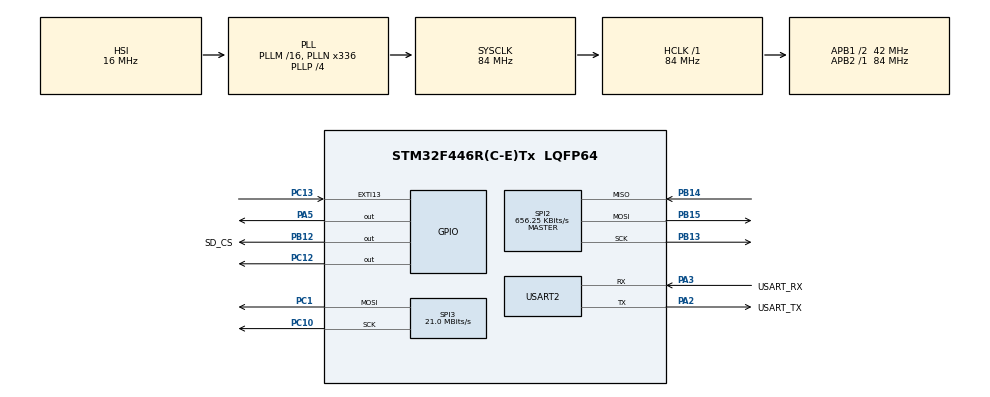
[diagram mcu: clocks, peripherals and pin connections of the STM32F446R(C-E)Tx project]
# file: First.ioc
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Mcu.Family=STM32F4
Mcu.Name=STM32F446R(C-E)Tx
Mcu.Package=LQFP64
NUCLEO-F446RE.BUTTON=1
NUCLEO-F446RE.LD1=true
NVIC.EXTI15_10_IRQn=true\:0\:0\:false\:false\:true\:false\:true\:true
NVIC.PriorityGroup=NVIC_PRIORITYGROUP_0
PA13.GPIO_Label=TMS
PA13.Signal=SYS_JTMS-SWDIO
PA14.GPIO_Label=TCK
PA14.Signal=SYS_JTCK-SWCLK
PA2.GPIO_Label=USART_TX
PA2.Mode=Asynchronous
PA2.Signal=USART2_TX
PA3.GPIO_Label=USART_RX
PA3.Mode=Asynchronous
PA3.Signal=USART2_RX
PA5.Signal=GPIO_Output
PB12.GPIO_Label=SD_CS
PB12.GPIO_PuPd=GPIO_PULLUP
PB12.GPIO_Speed=GPIO_SPEED_FREQ_HIGH
PB12.PinState=GPIO_PIN_SET
PB12.Signal=GPIO_Output
PB13.Mode=Full_Duplex_Master
PB13.Signal=SPI2_SCK
PB14.Mode=Full_Duplex_Master
PB14.Signal=SPI2_MISO
PB15.Mode=Full_Duplex_Master
PB15.Signal=SPI2_MOSI
PB3.GPIO_Label=SWO
PB3.Signal=SYS_JTDO-SWO
PC1.Mode=TX_Only_Simplex_Unidirect_Master
PC1.Signal=SPI3_MOSI
PC10.Mode=TX_Only_Simplex_Unidirect_Master
PC10.Signal=SPI3_SCK
PC12.Signal=GPIO_Output
PC13.Signal=GPXTI13
PC14-OSC32_IN.Signal=RCC_OSC32_IN
PC15-OSC32_OUT.Signal=RCC_OSC32_OUT
PH0-OSC_IN.Signal=RCC_OSC_IN
PH1-OSC_OUT.Signal=RCC_OSC_OUT
ProjectManager.HeapSize=0x200
ProjectManager.StackSize=0x400
ProjectManager.TargetToolchain=STM32CubeIDE
RCC.AHBFreq_Value=84000000
RCC.APB1CLKDivider=RCC_HCLK_DIV2
RCC.APB1Freq_Value=42000000
RCC.APB1TimFreq_Value=84000000
RCC.APB2Freq_Value=84000000
RCC.APB2TimFreq_Value=84000000
RCC.CortexFreq_Value=84000000
RCC.FLatency-AdvancedSettings=FLASH_LATENCY_2
RCC.HCLKFreq_Value=84000000
RCC.HSE_VALUE=8000000
RCC.HSI_VALUE=16000000
RCC.LSE_VALUE=32768
RCC.PLLN=336
RCC.PLLP=RCC_PLLP_DIV4
RCC.SYSCLKFreq_VALUE=84000000
RCC.SYSCLKSource=RCC_SYSCLKSOURCE_PLLCLK
RCC.USBFreq_Value=168000000
RCC.VCOOutputFreq_Value=336000000
SPI2.BaudRatePrescaler=SPI_BAUDRATEPRESCALER_64
SPI2.CalculateBaudRate=656.25 KBits/s
SPI2.Direction=SPI_DIRECTION_2LINES
SPI2.Mode=SPI_MODE_MASTER
SPI2.VirtualType=VM_MASTER
SPI3.CalculateBaudRate=21.0 MBits/s
SPI3.Direction=SPI_DIRECTION_2LINES
SPI3.Mode=SPI_MODE_MASTER
SPI3.VirtualType=VM_MASTER
USART2.VirtualMode=VM_ASYNC
VP_FATFS_VS_Generic.Mode=User_defined
VP_NUCLEO-F446RE_VS_BSP_COMMON.Mode=COMMON
board=NUCLEO-F446RE

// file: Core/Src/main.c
/* USER CODE BEGIN Header */
/**
  ******************************************************************************
  * @file           : main.c
  * @brief          : Main program body
  ******************************************************************************
  * @attention
  *
  * Copyright (c) 2026 STMicroelectronics.
  * All rights reserved.
  *
  * This software is licensed under terms that can be found in the LICENSE file
  * in the root directory of this software component.
  * If no LICENSE file comes with this software, it is provided AS-IS.
  *
  ******************************************************************************
  */
/* USER CODE END Header */
#include "main.h"
#include "fatfs.h"

/* USER CODE BEGIN Includes */
#include <stdio.h>
#include <stdlib.h>
#include <inttypes.h>
#include <string.h>
#include "fatfs.h"
/* USER CODE END Includes */

SPI_HandleTypeDef hspi2;
SPI_HandleTypeDef hspi3;

UART_HandleTypeDef huart2;

/* USER CODE BEGIN PV */
#define WINDOW_PERFECT_MS 50
#define WINDOW_GOOD_MS    120

FIL MyFile;
uint8_t rtext[64];

typedef enum{
	NOTE_UNHIT = 0,
	NOTE_HIT,
	NOTE_MISSED
} NoteStatus_t;

typedef struct{
	uint32_t timestamp_ms;
	uint8_t fret_id;
	NoteStatus_t status;
} Note_t;

static Note_t song_track[] = {
  { 3000,  0, NOTE_UNHIT },
  { 5000,  0, NOTE_UNHIT },
  { 7000,  0, NOTE_UNHIT },
  { 9000,  0, NOTE_UNHIT },
  { 11000, 0, NOTE_UNHIT }
};

#define TRACK_NOTE_COUNT (sizeof(song_track) / sizeof(Note_t))

static uint32_t song_start_time = 0;
static uint8_t is_playing = 0;
static uint32_t current_score =0;
static uint32_t current_combo = 0;
static uint8_t song_finished = 0;

/* USER CODE END PV */

void SystemClock_Config(void);
static void MX_GPIO_Init(void);
static void MX_USART2_UART_Init(void);
static void MX_SPI2_Init(void);
static void MX_SPI3_Init(void);

/* USER CODE BEGIN 0 */
int __io_putchar(int ch){
	HAL_UART_Transmit(&huart2, (uint8_t *)&ch, 1, HAL_MAX_DELAY);
	return ch;
}

void Process_Button_Press(uint32_t press_time_abs){
	if(!is_playing) return;

	uint32_t song_elapsed_ms = press_time_abs - song_start_time;

	for(size_t i = 0; i < TRACK_NOTE_COUNT; i++)
	{
		if(song_track[i].status != NOTE_UNHIT) continue;

		int32_t delta = (int32_t)song_elapsed_ms - (int32_t)song_track[i].timestamp_ms;

		if(delta < -WINDOW_GOOD_MS) break;

		if(abs(delta) <= WINDOW_GOOD_MS){
			song_track[i].status = NOTE_HIT;
			HAL_GPIO_TogglePin(GPIOA, GPIO_PIN_5);

			if(abs(delta) <= WINDOW_PERFECT_MS){
				current_score += 100;
				++current_combo;
				printf("[PERFECT] Target: %u ms | Delta: %+d ms | Score: %u | Combo: %u\r\n",
               (unsigned int)song_track[i].timestamp_ms, (int)delta,
               (unsigned int)current_score, (unsigned int)current_combo);

			}
			else{
				current_score +=50;
				current_combo++;
				printf("[GOOD]    Target: %u ms | Delta: %+d ms | Score: %u | Combo: %u\r\n",
			               (unsigned int)song_track[i].timestamp_ms, (int)delta,
			               (unsigned int)current_score, (unsigned int)current_combo);

			}
			return;

		}
	}
	printf("[EXTRA TAP] at %u ms | Combo reset!\r\n", (unsigned int)song_elapsed_ms);
	current_combo = 0;
}
/* USER CODE END 0 */

int main(void)
{

  /* MCU Configuration--------------------------------------------------------*/

  /* Reset of all peripherals, Initializes the Flash interface and the Systick. */
  HAL_Init();

  /* Configure the system clock */
  SystemClock_Config();

  /* Initialize all configured peripherals */
  MX_GPIO_Init();
  MX_USART2_UART_Init();
  MX_SPI2_Init();
  MX_FATFS_Init();
  MX_SPI3_Init();
  /* USER CODE BEGIN 2 */
  printf("\r\n=== System Boot: Testing MicroSD Write & Read ===\r\n");

    FRESULT res;
    UINT bytesWritten = 0;
    UINT bytesRead = 0;
    const char writeData[] = "RHYTHM_ENGINE_READY_FROM_STM32\r\n";

    // 1. Mount the filesystem
    res = f_mount(&USERFatFS, (TCHAR const*)USERPath, 1);
    if (res != FR_OK)
    {
      printf("[SD ERROR] f_mount failed: %d\r\n", res);
    }
    else
    {
      printf("[SD OK] Card mounted successfully!\r\n");

      // 2. Create and open test.txt for writing (overwrites if it already exists)
      res = f_open(&MyFile, "test.txt", FA_CREATE_ALWAYS | FA_WRITE);
      if (res != FR_OK)
      {
        printf("[SD ERROR] f_open (write) failed: %d\r\n", res);
      }
      else
      {
        printf("[SD OK] 'test.txt' created on SD card!\r\n");

        // 3. Write string data to the file
        res = f_write(&MyFile, writeData, sizeof(writeData) - 1, &bytesWritten);
        if (res != FR_OK)
        {
          printf("[SD ERROR] f_write failed: %d\r\n", res);
        }
        else
        {
          printf("[SD OK] Wrote %u bytes to test.txt\r\n", (unsigned int)bytesWritten);
        }

        // 4. MUST close the file to flush the cache and write FAT directory entries
        f_close(&MyFile);
      }

      // 5. Read back the file to verify data integrity
      res = f_open(&MyFile, "test.txt", FA_READ);
      if (res == FR_OK)
      {
        memset(rtext, 0, sizeof(rtext));
        uint32_t t_start = HAL_GetTick();
        res = f_read(&MyFile, rtext, sizeof(rtext) - 1, &bytesRead);
        uint32_t t_elapsed = HAL_GetTick() - t_start;
        printf("[BENCHMARK] Read time: %lu ms\r\n", t_elapsed);
        if (res == FR_OK)
        {

          printf("[SD OK] Read back %u bytes:\r\n", (unsigned int)bytesRead);
          printf("----------------------------------------\r\n");
          printf("%s", (char *)rtext);
          printf("----------------------------------------\r\n");
        }
        f_close(&MyFile);
      }
    }
  printf("\r\n=== System Boot: Rhythm Engine Initialized ===\r\n");
  printf("Track loaded: %u notes.\r\n", (unsigned int)TRACK_NOTE_COUNT);
  printf("First note coming at 3000 ms! Get ready...\r\n");

  song_start_time = HAL_GetTick();
  is_playing = 1;

  uint16_t TX_Buffer[] = {0b000101100000};

  HAL_SPI_Transmit(&hspi3, (uint8_t *)TX_Buffer, 1, 1000);
  HAL_Delay(100);

  /* USER CODE END 2 */

  /* Initialize leds */
  BSP_LED_Init(LED2);

  /* Initialize USER push-button, will be used to trigger an interrupt each time it's pressed.*/
  BSP_PB_Init(BUTTON_USER, BUTTON_MODE_EXTI);

  /* Infinite loop */
  while (1)
  {

    /* USER CODE BEGIN 3 */

	  if(is_playing){

		  uint32_t elapsed = HAL_GetTick() - song_start_time;

		  for(size_t i = 0; i <TRACK_NOTE_COUNT; i++){

			  if(song_track[i].status == NOTE_UNHIT &&
					  ((int32_t)elapsed - (int32_t)song_track[i].timestamp_ms) > WINDOW_GOOD_MS){
				  song_track[i].status = NOTE_MISSED;
				  current_combo = 0;
				  printf("[MISSED]  Target: %u ms passed unhit! Combo reset.\r\n",
						 (unsigned int)song_track[i].timestamp_ms);
			  }

		  }
		  if(!song_finished && elapsed > song_track[TRACK_NOTE_COUNT - 1].timestamp_ms + 2000){
			  is_playing = 0;
			  song_finished = 1;
			  printf("\r\n=== SONG COMPLETE ===\r\n");
			  printf("Final Score: %u\r\n", (unsigned int)current_score);
			  printf("Press Black Reset Button to replay.\r\n");
		  }

	  }
  }
  /* USER CODE END 3 */
}

void SystemClock_Config(void)
{
  RCC_OscInitTypeDef RCC_OscInitStruct = {0};
  RCC_ClkInitTypeDef RCC_ClkInitStruct = {0};

  /** Configure the main internal regulator output voltage
  */
  __HAL_RCC_PWR_CLK_ENABLE();
  __HAL_PWR_VOLTAGESCALING_CONFIG(PWR_REGULATOR_VOLTAGE_SCALE3);

  /** Initializes the RCC Oscillators according to the specified parameters
  * in the RCC_OscInitTypeDef structure.
  */
  RCC_OscInitStruct.OscillatorType = RCC_OSCILLATORTYPE_HSI;
  RCC_OscInitStruct.HSIState = RCC_HSI_ON;
  RCC_OscInitStruct.HSICalibrationValue = RCC_HSICALIBRATION_DEFAULT;
  RCC_OscInitStruct.PLL.PLLState = RCC_PLL_ON;
  RCC_OscInitStruct.PLL.PLLSource = RCC_PLLSOURCE_HSI;
  RCC_OscInitStruct.PLL.PLLM = 16;
  RCC_OscInitStruct.PLL.PLLN = 336;
  RCC_OscInitStruct.PLL.PLLP = RCC_PLLP_DIV4;
  RCC_OscInitStruct.PLL.PLLQ = 2;
  RCC_OscInitStruct.PLL.PLLR = 2;
  if (HAL_RCC_OscConfig(&RCC_OscInitStruct) != HAL_OK)
  {
    Error_Handler();
  }

  /** Initializes the CPU, AHB and APB buses clocks
  */
  RCC_ClkInitStruct.ClockType = RCC_CLOCKTYPE_HCLK|RCC_CLOCKTYPE_SYSCLK
                              |RCC_CLOCKTYPE_PCLK1|RCC_CLOCKTYPE_PCLK2;
  RCC_ClkInitStruct.SYSCLKSource = RCC_SYSCLKSOURCE_PLLCLK;
  RCC_ClkInitStruct.AHBCLKDivider = RCC_SYSCLK_DIV1;
  RCC_ClkInitStruct.APB1CLKDivider = RCC_HCLK_DIV2;
  RCC_ClkInitStruct.APB2CLKDivider = RCC_HCLK_DIV1;

  if (HAL_RCC_ClockConfig(&RCC_ClkInitStruct, FLASH_LATENCY_2) != HAL_OK)
  {
    Error_Handler();
  }
}

static void MX_SPI2_Init(void)
{

  /* SPI2 parameter configuration*/
  hspi2.Instance = SPI2;
  hspi2.Init.Mode = SPI_MODE_MASTER;
  hspi2.Init.Direction = SPI_DIRECTION_2LINES;
  hspi2.Init.DataSize = SPI_DATASIZE_8BIT;
  hspi2.Init.CLKPolarity = SPI_POLARITY_LOW;
  hspi2.Init.CLKPhase = SPI_PHASE_1EDGE;
  hspi2.Init.NSS = SPI_NSS_SOFT;
  hspi2.Init.BaudRatePrescaler = SPI_BAUDRATEPRESCALER_64;
  hspi2.Init.FirstBit = SPI_FIRSTBIT_MSB;
  hspi2.Init.TIMode = SPI_TIMODE_DISABLE;
  hspi2.Init.CRCCalculation = SPI_CRCCALCULATION_DISABLE;
  hspi2.Init.CRCPolynomial = 10;
  if (HAL_SPI_Init(&hspi2) != HAL_OK)
  {
    Error_Handler();
  }

}

static void MX_SPI3_Init(void)
{

  /* SPI3 parameter configuration*/
  hspi3.Instance = SPI3;
  hspi3.Init.Mode = SPI_MODE_MASTER;
  hspi3.Init.Direction = SPI_DIRECTION_2LINES;
  hspi3.Init.DataSize = SPI_DATASIZE_8BIT;
  hspi3.Init.CLKPolarity = SPI_POLARITY_LOW;
  hspi3.Init.CLKPhase = SPI_PHASE_1EDGE;
  hspi3.Init.NSS = SPI_NSS_SOFT;
  hspi3.Init.BaudRatePrescaler = SPI_BAUDRATEPRESCALER_2;
  hspi3.Init.FirstBit = SPI_FIRSTBIT_MSB;
  hspi3.Init.TIMode = SPI_TIMODE_DISABLE;
  hspi3.Init.CRCCalculation = SPI_CRCCALCULATION_DISABLE;
  hspi3.Init.CRCPolynomial = 10;
  if (HAL_SPI_Init(&hspi3) != HAL_OK)
  {
    Error_Handler();
  }

}

static void MX_USART2_UART_Init(void)
{

  huart2.Instance = USART2;
  huart2.Init.BaudRate = 115200;
  huart2.Init.WordLength = UART_WORDLENGTH_8B;
  huart2.Init.StopBits = UART_STOPBITS_1;
  huart2.Init.Parity = UART_PARITY_NONE;
  huart2.Init.Mode = UART_MODE_TX_RX;
  huart2.Init.HwFlowCtl = UART_HWCONTROL_NONE;
  huart2.Init.OverSampling = UART_OVERSAMPLING_16;
  if (HAL_UART_Init(&huart2) != HAL_OK)
  {
    Error_Handler();
  }

}

static void MX_GPIO_Init(void)
{
  GPIO_InitTypeDef GPIO_InitStruct = {0};

  /* GPIO Ports Clock Enable */
  __HAL_RCC_GPIOC_CLK_ENABLE();
  __HAL_RCC_GPIOH_CLK_ENABLE();
  __HAL_RCC_GPIOA_CLK_ENABLE();
  __HAL_RCC_GPIOB_CLK_ENABLE();

  /*Configure GPIO pin Output Level */
  HAL_GPIO_WritePin(SD_CS_GPIO_Port, SD_CS_Pin, GPIO_PIN_SET);

  /*Configure GPIO pin Output Level */
  HAL_GPIO_WritePin(GPIOC, GPIO_PIN_12, GPIO_PIN_RESET);

  /*Configure GPIO pin : SD_CS_Pin */
  GPIO_InitStruct.Pin = SD_CS_Pin;
  GPIO_InitStruct.Mode = GPIO_MODE_OUTPUT_PP;
  GPIO_InitStruct.Pull = GPIO_PULLUP;
  GPIO_InitStruct.Speed = GPIO_SPEED_FREQ_HIGH;
  HAL_GPIO_Init(SD_CS_GPIO_Port, &GPIO_InitStruct);

  /*Configure GPIO pin : PC12 */
  GPIO_InitStruct.Pin = GPIO_PIN_12;
  GPIO_InitStruct.Mode = GPIO_MODE_OUTPUT_PP;
  GPIO_InitStruct.Pull = GPIO_NOPULL;
  GPIO_InitStruct.Speed = GPIO_SPEED_FREQ_LOW;
  HAL_GPIO_Init(GPIOC, &GPIO_InitStruct);

}

/* USER CODE BEGIN 4 */
static uint32_t last_press_time = 0;

void HAL_GPIO_EXTI_Callback(uint16_t GPIO_Pin)
{

	if(GPIO_Pin == GPIO_PIN_13){
		uint32_t now = HAL_GetTick();

		if ((now - last_press_time) > 100){

			last_press_time = now;
			Process_Button_Press(now);
		}

	}

}
/* USER CODE END 4 */

void Error_Handler(void)
{
  /* USER CODE BEGIN Error_Handler_Debug */
  /* User can add his own implementation to report the HAL error return state */
  __disable_irq();
  while (1)
  {
	  HAL_GPIO_TogglePin(GPIOA, GPIO_PIN_5);
	  HAL_Delay(500);
  }
  /* USER CODE END Error_Handler_Debug */
}
